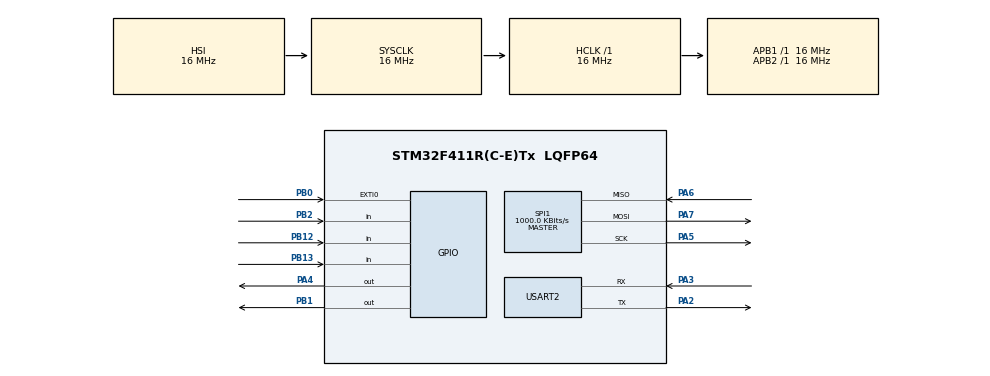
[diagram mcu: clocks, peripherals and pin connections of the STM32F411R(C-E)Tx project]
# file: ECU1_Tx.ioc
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Mcu.Family=STM32F4
Mcu.Name=STM32F411R(C-E)Tx
Mcu.Package=LQFP64
NVIC.EXTI0_IRQn=true\:0\:0\:false\:false\:true\:true\:true\:true
NVIC.PriorityGroup=NVIC_PRIORITYGROUP_4
PA2.Mode=Asynchronous
PA2.Signal=USART2_TX
PA3.Mode=Asynchronous
PA3.Signal=USART2_RX
PA4.Signal=GPIO_Output
PA5.Mode=Full_Duplex_Master
PA5.Signal=SPI1_SCK
PA6.Mode=Full_Duplex_Master
PA6.Signal=SPI1_MISO
PA7.Mode=Full_Duplex_Master
PA7.Signal=SPI1_MOSI
PB0.Signal=GPXTI0
PB1.Signal=GPIO_Output
PB12.GPIO_PuPd=GPIO_PULLUP
PB12.Signal=GPIO_Input
PB13.GPIO_PuPd=GPIO_PULLUP
PB13.Signal=GPIO_Input
PB2.Signal=GPIO_Input
ProjectManager.HeapSize=0x200
ProjectManager.StackSize=0x400
ProjectManager.TargetToolchain=STM32CubeIDE
RCC.AHBFreq_Value=16000000
RCC.APB1Freq_Value=16000000
RCC.APB2Freq_Value=16000000
RCC.CortexFreq_Value=16000000
RCC.HSE_VALUE=25000000
RCC.HSI_VALUE=16000000
RCC.LSE_VALUE=32768
RCC.SYSCLKFreq_VALUE=16000000
RCC.VCOOutputFreq_Value=192000000
SPI1.BaudRatePrescaler=SPI_BAUDRATEPRESCALER_16
SPI1.CalculateBaudRate=1000.0 KBits/s
SPI1.Direction=SPI_DIRECTION_2LINES
SPI1.Mode=SPI_MODE_MASTER
SPI1.VirtualType=VM_MASTER
TIM2.Prescaler=15
USART2.VirtualMode=VM_ASYNC
VP_TIM2_VS_ClockSourceINT.Mode=Internal
board=custom

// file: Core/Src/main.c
/* USER CODE BEGIN Header */
/**
  ******************************************************************************
  * @file           : main.c
  * @brief          : Main program body
  ******************************************************************************
  * @attention
  *
  * Copyright (c) 2026 STMicroelectronics.
  * All rights reserved.
  *
  * This software is licensed under terms that can be found in the LICENSE file
  * in the root directory of this software component.
  * If no LICENSE file comes with this software, it is provided AS-IS.
  *
  ******************************************************************************
  */
/* USER CODE END Header */
#include "main.h"

/* USER CODE BEGIN Includes */
#include "mcp2515.h"
#include <stdio.h>
#include <string.h>

/* USER CODE END Includes */

/* USER CODE BEGIN PD */
/* IR Sensor Pins */
#define IR_LEFT_PIN    GPIO_PIN_12   // PB12
#define IR_RIGHT_PIN   GPIO_PIN_13   // PB13
#define IR_PORT        GPIOB

/* USER CODE END PD */

SPI_HandleTypeDef hspi1;

TIM_HandleTypeDef htim2;

UART_HandleTypeDef huart2;

void SystemClock_Config(void);
static void MX_GPIO_Init(void);
static void MX_SPI1_Init(void);
static void MX_TIM2_Init(void);
static void MX_USART2_UART_Init(void);

/* USER CODE BEGIN 0 */
/* Microsecond Delay */
void delay_us(uint32_t us)
{
    __HAL_TIM_SET_COUNTER(&htim2, 0);
    while(__HAL_TIM_GET_COUNTER(&htim2) < us);
}

/* Ultrasonic Distance */
uint16_t Ultrasonic_GetDistance(void)
{
    uint32_t time;
    uint32_t timeout = 30000;

    /* Trigger */
    HAL_GPIO_WritePin(GPIOB, GPIO_PIN_1, GPIO_PIN_SET);
    delay_us(10);
    HAL_GPIO_WritePin(GPIOB, GPIO_PIN_1, GPIO_PIN_RESET);

    /* Wait for Echo HIGH */
    __HAL_TIM_SET_COUNTER(&htim2, 0);
    while(HAL_GPIO_ReadPin(GPIOB, GPIO_PIN_2) == GPIO_PIN_RESET)
    {
        if(__HAL_TIM_GET_COUNTER(&htim2) > timeout)
            return 0;
    }

    /* Measure HIGH time */
    __HAL_TIM_SET_COUNTER(&htim2, 0);
    while(HAL_GPIO_ReadPin(GPIOB, GPIO_PIN_2) == GPIO_PIN_SET)
    {
        if(__HAL_TIM_GET_COUNTER(&htim2) > timeout)
            break;
    }

    time = __HAL_TIM_GET_COUNTER(&htim2);

    return (uint16_t)(time / 58);
}

/* Read IR Sensors */
void Read_IR(uint8_t *left, uint8_t *right)
{
    *left  = HAL_GPIO_ReadPin(IR_PORT, IR_LEFT_PIN);
    *right = HAL_GPIO_ReadPin(IR_PORT, IR_RIGHT_PIN);
}

/* USER CODE END 0 */

int main(void)
{

  /* MCU Configuration--------------------------------------------------------*/

  /* Reset of all peripherals, Initializes the Flash interface and the Systick. */
  HAL_Init();

  /* Configure the system clock */
  SystemClock_Config();

  /* Initialize all configured peripherals */
  MX_GPIO_Init();
  MX_SPI1_Init();
  MX_TIM2_Init();
  MX_USART2_UART_Init();
  /* USER CODE BEGIN 2 */
  HAL_TIM_Base_Start(&htim2);
  MCP2515_Init();
  char buf[64];

  /* USER CODE END 2 */

  /* Infinite loop */
  /* USER CODE BEGIN WHILE */
  while (1)
  {
	    uint16_t distance = Ultrasonic_GetDistance();

	    uint8_t irLeft, irRight;
	    Read_IR(&irLeft, &irRight);

	    uint8_t txData[4];

	    txData[0] = distance >> 8;
	    txData[1] = distance & 0xFF;
	    txData[2] = irLeft;
	    txData[3] = irRight;

	    MCP2515_SendMessage(0x123, txData, 4);

	    sprintf(buf,
	            "Dist:%dcm | IR_L:%d | IR_R:%d\r\n",
	            distance, irLeft, irRight);

	    HAL_UART_Transmit(&huart2,
	                      (uint8_t*)buf,
	                      strlen(buf),
	                      HAL_MAX_DELAY);

	    HAL_Delay(500);
    /* USER CODE END WHILE */

  }
}

void SystemClock_Config(void)
{
  RCC_OscInitTypeDef RCC_OscInitStruct = {0};
  RCC_ClkInitTypeDef RCC_ClkInitStruct = {0};

  /** Configure the main internal regulator output voltage
  */
  __HAL_RCC_PWR_CLK_ENABLE();
  __HAL_PWR_VOLTAGESCALING_CONFIG(PWR_REGULATOR_VOLTAGE_SCALE1);

  /** Initializes the RCC Oscillators according to the specified parameters
  * in the RCC_OscInitTypeDef structure.
  */
  RCC_OscInitStruct.OscillatorType = RCC_OSCILLATORTYPE_HSI;
  RCC_OscInitStruct.HSIState = RCC_HSI_ON;
  RCC_OscInitStruct.HSICalibrationValue = RCC_HSICALIBRATION_DEFAULT;
  RCC_OscInitStruct.PLL.PLLState = RCC_PLL_NONE;
  if (HAL_RCC_OscConfig(&RCC_OscInitStruct) != HAL_OK)
  {
    Error_Handler();
  }

  /** Initializes the CPU, AHB and APB buses clocks
  */
  RCC_ClkInitStruct.ClockType = RCC_CLOCKTYPE_HCLK|RCC_CLOCKTYPE_SYSCLK
                              |RCC_CLOCKTYPE_PCLK1|RCC_CLOCKTYPE_PCLK2;
  RCC_ClkInitStruct.SYSCLKSource = RCC_SYSCLKSOURCE_HSI;
  RCC_ClkInitStruct.AHBCLKDivider = RCC_SYSCLK_DIV1;
  RCC_ClkInitStruct.APB1CLKDivider = RCC_HCLK_DIV1;
  RCC_ClkInitStruct.APB2CLKDivider = RCC_HCLK_DIV1;

  if (HAL_RCC_ClockConfig(&RCC_ClkInitStruct, FLASH_LATENCY_0) != HAL_OK)
  {
    Error_Handler();
  }
}

static void MX_SPI1_Init(void)
{

  /* SPI1 parameter configuration*/
  hspi1.Instance = SPI1;
  hspi1.Init.Mode = SPI_MODE_MASTER;
  hspi1.Init.Direction = SPI_DIRECTION_2LINES;
  hspi1.Init.DataSize = SPI_DATASIZE_8BIT;
  hspi1.Init.CLKPolarity = SPI_POLARITY_LOW;
  hspi1.Init.CLKPhase = SPI_PHASE_1EDGE;
  hspi1.Init.NSS = SPI_NSS_SOFT;
  hspi1.Init.BaudRatePrescaler = SPI_BAUDRATEPRESCALER_16;
  hspi1.Init.FirstBit = SPI_FIRSTBIT_MSB;
  hspi1.Init.TIMode = SPI_TIMODE_DISABLE;
  hspi1.Init.CRCCalculation = SPI_CRCCALCULATION_DISABLE;
  hspi1.Init.CRCPolynomial = 10;
  if (HAL_SPI_Init(&hspi1) != HAL_OK)
  {
    Error_Handler();
  }

}

static void MX_TIM2_Init(void)
{

  TIM_ClockConfigTypeDef sClockSourceConfig = {0};
  TIM_MasterConfigTypeDef sMasterConfig = {0};

  htim2.Instance = TIM2;
  htim2.Init.Prescaler = 15;
  htim2.Init.CounterMode = TIM_COUNTERMODE_UP;
  htim2.Init.Period = 4294967295;
  htim2.Init.ClockDivision = TIM_CLOCKDIVISION_DIV1;
  htim2.Init.AutoReloadPreload = TIM_AUTORELOAD_PRELOAD_DISABLE;
  if (HAL_TIM_Base_Init(&htim2) != HAL_OK)
  {
    Error_Handler();
  }
  sClockSourceConfig.ClockSource = TIM_CLOCKSOURCE_INTERNAL;
  if (HAL_TIM_ConfigClockSource(&htim2, &sClockSourceConfig) != HAL_OK)
  {
    Error_Handler();
  }
  sMasterConfig.MasterOutputTrigger = TIM_TRGO_RESET;
  sMasterConfig.MasterSlaveMode = TIM_MASTERSLAVEMODE_DISABLE;
  if (HAL_TIMEx_MasterConfigSynchronization(&htim2, &sMasterConfig) != HAL_OK)
  {
    Error_Handler();
  }

}

static void MX_USART2_UART_Init(void)
{

  huart2.Instance = USART2;
  huart2.Init.BaudRate = 115200;
  huart2.Init.WordLength = UART_WORDLENGTH_8B;
  huart2.Init.StopBits = UART_STOPBITS_1;
  huart2.Init.Parity = UART_PARITY_NONE;
  huart2.Init.Mode = UART_MODE_TX_RX;
  huart2.Init.HwFlowCtl = UART_HWCONTROL_NONE;
  huart2.Init.OverSampling = UART_OVERSAMPLING_16;
  if (HAL_UART_Init(&huart2) != HAL_OK)
  {
    Error_Handler();
  }

}

static void MX_GPIO_Init(void)
{
  GPIO_InitTypeDef GPIO_InitStruct = {0};

  /* GPIO Ports Clock Enable */
  __HAL_RCC_GPIOA_CLK_ENABLE();
  __HAL_RCC_GPIOB_CLK_ENABLE();

  /*Configure GPIO pin Output Level */
  HAL_GPIO_WritePin(GPIOA, GPIO_PIN_4, GPIO_PIN_RESET);

  /*Configure GPIO pin Output Level */
  HAL_GPIO_WritePin(GPIOB, GPIO_PIN_1, GPIO_PIN_RESET);

  /*Configure GPIO pin : PA4 */
  GPIO_InitStruct.Pin = GPIO_PIN_4;
  GPIO_InitStruct.Mode = GPIO_MODE_OUTPUT_PP;
  GPIO_InitStruct.Pull = GPIO_NOPULL;
  GPIO_InitStruct.Speed = GPIO_SPEED_FREQ_LOW;
  HAL_GPIO_Init(GPIOA, &GPIO_InitStruct);

  /*Configure GPIO pin : PB0 */
  GPIO_InitStruct.Pin = GPIO_PIN_0;
  GPIO_InitStruct.Mode = GPIO_MODE_IT_RISING;
  GPIO_InitStruct.Pull = GPIO_NOPULL;
  HAL_GPIO_Init(GPIOB, &GPIO_InitStruct);

  /*Configure GPIO pin : PB1 */
  GPIO_InitStruct.Pin = GPIO_PIN_1;
  GPIO_InitStruct.Mode = GPIO_MODE_OUTPUT_PP;
  GPIO_InitStruct.Pull = GPIO_NOPULL;
  GPIO_InitStruct.Speed = GPIO_SPEED_FREQ_LOW;
  HAL_GPIO_Init(GPIOB, &GPIO_InitStruct);

  /*Configure GPIO pin : PB2 */
  GPIO_InitStruct.Pin = GPIO_PIN_2;
  GPIO_InitStruct.Mode = GPIO_MODE_INPUT;
  GPIO_InitStruct.Pull = GPIO_NOPULL;
  HAL_GPIO_Init(GPIOB, &GPIO_InitStruct);

  /*Configure GPIO pins : PB12 PB13 */
  GPIO_InitStruct.Pin = GPIO_PIN_12|GPIO_PIN_13;
  GPIO_InitStruct.Mode = GPIO_MODE_INPUT;
  GPIO_InitStruct.Pull = GPIO_PULLUP;
  HAL_GPIO_Init(GPIOB, &GPIO_InitStruct);

  /* EXTI interrupt init*/
  HAL_NVIC_SetPriority(EXTI0_IRQn, 0, 0);
  HAL_NVIC_EnableIRQ(EXTI0_IRQn);

}

void Error_Handler(void)
{
  __disable_irq();
  while (1)
  {
  }
}
